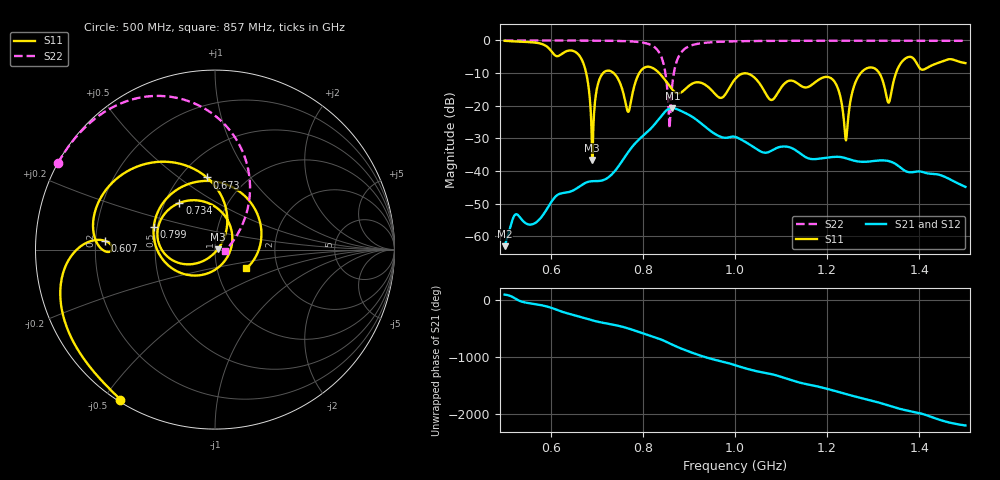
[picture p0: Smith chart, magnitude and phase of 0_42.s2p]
! TOUCHSTONE file generated by CST MICROWAVE STUDIO
! Date and time: Sat Oct 24 10:48:32 2020
! Project name: Scenario_1_Planar_Body_Tissue_Center.cst
! Parameters = {hfat=3; hmuscle=50; hskin=1.5; hgap=25; Wtissue=700; Ltissue=700; L_HA=400; MT=2.54; Rad_Dielectric=30; Rad_Lower=7.3; Rad_Upper=30; a_HA=580; a_WG=246; b_HA=500; b_WG=121; c_HA=0; c_WG=187; d_feed=85; dx1=883.12; h_feed=15; h_lower=18; h_upper=40}
! Header version: 2018
! Port assignment regex: !\s*Touchstone port\s*([0-9]+)\s*=\s*(CST MWS port|CST DS port)\s*([0-9]+|Zmin|Zmax)\s*\(\"(.*)\"\)(\s*mode\s*([0-9]+))?.*
! Touchstone port assignment:
! Touchstone port 1 = CST MWS port 1 ("")
! Touchstone port 2 = CST MWS port 2 ("")
# GHz S DB R 50
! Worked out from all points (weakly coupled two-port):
!   1003 points, 500 MHz to 1.5 GHz, reference 50 ohm
!   highest |S21| = -20.74 dB at 864 MHz (marker M1); lowest = -63.1 dB at 500 MHz (marker M2)
!   lowest |S11| = -36.7 dB at 690 MHz (marker M3), VSWR 1.03, Z = 51.5 + j0.0851 ohm
!   |S11| at or under -10 dB: 677 MHz to 713.8 MHz (36.74 MHz wide, 5.28 % of centre); 736.6 MHz to 792.3 MHz (55.68 MHz wide, 7.28 % of centre); 835.4 MHz to 1.273 GHz (437.5 MHz wide, 41.5 % of centre) (the widest 3 of 4)
!   |S22| runs from -26.9 to 0.0 dB; largest |S21 - S12| = 1.4e-05
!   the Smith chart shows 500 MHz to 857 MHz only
!   S11 on the Smith chart (normalised r, x): 500 MHz: 0.01, -0.55; 607 MHz: 0.24, +0.04; 673 MHz: 0.67, +0.64; 734 MHz: 0.59, +0.35; 799 MHz: 0.48, +0.14; 857 MHz: 1.38, -0.30
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0.5  -0.11 -122.2  -63.07 98.1  -63.07 98.1  -0.01 151.1
0.607  -4.24 175.4  -48.40 -150.5  -48.40 -150.5  -0.02 143.6
0.667  -5.74 112.2  -44.37 62.2  -44.37 62.2  -0.04 138.3
0.673  -7.86 96.5  -43.85 47.8  -43.85 47.8  -0.05 137.8
0.69  -36.68 3.2  -43.14 6.5  -43.14 6.5  -0.06 136.0
0.706  -11.88 -168.4  -43.07 -25.5  -43.07 -25.5  -0.07 134.1
0.734  -9.71 127.4  -40.87 -68.5  -40.87 -68.5  -0.12 130.2
0.768  -21.90 -27.4  -34.28 -135.8  -34.28 -135.8  -0.25 123.6
0.799  -8.78 159.6  -29.42 141.2  -29.42 141.2  -0.64 113.1
0.834  -9.80 49.4  -24.25 46.7  -24.25 46.7  -3.38 83.6
0.857  -13.81 -31.1  -20.93 -34.8  -20.93 -34.8  -25.04 -8.6
0.864  -15.07 -61.2  -20.74 -62.0  -20.74 -62.0  -13.36 -137.7
0.899  -14.04 127.9  -22.74 -178.5  -22.74 -178.5  -1.87 169.0
1  -11.88 67.8  -29.55 -61.0  -29.55 -61.0  -0.27 140.2
1.045  -11.76 -72.2  -33.15 -163.5  -33.15 -163.5  -0.17 134.9
1.167  -13.58 124.7  -36.38 -53.8  -36.38 -53.8  -0.10 124.1
1.215  -12.46 -8.6  -35.70 -149.2  -35.70 -149.2  -0.09 120.5
1.241  -30.64 -162.2  -36.13 150.7  -36.13 150.7  -0.08 118.5
1.281  -8.94 36.1  -37.21 69.2  -37.21 69.2  -0.09 115.5
1.334  -19.04 10.0  -37.00 -50.2  -37.00 -50.2  -0.09 111.5
1.373  -5.26 -0.6  -40.23 -135.8  -40.23 -135.8  -0.09 108.5
1.5  -6.95 -45.5  -44.88 -38.9  -44.88 -38.9  -0.13 97.9
